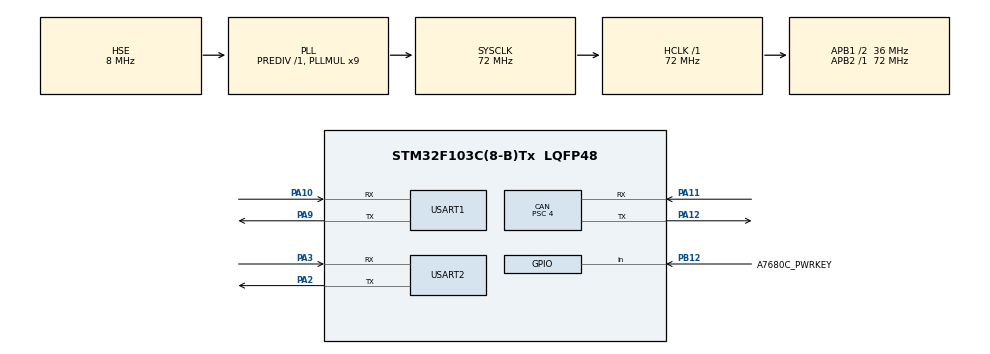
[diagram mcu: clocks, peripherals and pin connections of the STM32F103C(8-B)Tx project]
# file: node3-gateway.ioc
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CAN.BS1=CAN_BS1_15TQ
CAN.BS2=CAN_BS2_2TQ
CAN.CalculateBaudRate=500000
CAN.CalculateTimeBit=2000
CAN.CalculateTimeQuantum=111.11111111111111
CAN.Prescaler=4
FREERTOS.INCLUDE_uxTaskGetStackHighWaterMark=1
FREERTOS.INCLUDE_vTaskDelayUntil=1
FREERTOS.Tasks01=defaultTask,0,128,StartDefaultTask,Default,NULL,Dynamic,NULL,NULL
FREERTOS.configCHECK_FOR_STACK_OVERFLOW=2
FREERTOS.configTOTAL_HEAP_SIZE=6144
FREERTOS.configUSE_NEWLIB_REENTRANT=1
Mcu.Family=STM32F1
Mcu.Name=STM32F103C(8-B)Tx
Mcu.Package=LQFP48
NVIC.PriorityGroup=NVIC_PRIORITYGROUP_4
NVIC.TIM4_IRQn=true\:15\:0\:false\:false\:true\:false\:false\:true\:true
NVIC.TimeBase=TIM4_IRQn
NVIC.TimeBaseIP=TIM4
NVIC.USART2_IRQn=true\:6\:0\:true\:false\:true\:true\:true\:true\:true
NVIC.USB_LP_CAN1_RX0_IRQn=true\:5\:0\:true\:false\:true\:true\:true\:true\:true
PA10.Mode=Asynchronous
PA10.Signal=USART1_RX
PA11.Mode=CAN_Activate
PA11.Signal=CAN_RX
PA12.Mode=CAN_Activate
PA12.Signal=CAN_TX
PA13.Mode=Serial_Wire
PA13.Signal=SYS_JTMS-SWDIO
PA14.Mode=Serial_Wire
PA14.Signal=SYS_JTCK-SWCLK
PA2.Mode=Asynchronous
PA2.Signal=USART2_TX
PA3.Mode=Asynchronous
PA3.Signal=USART2_RX
PA9.Mode=Asynchronous
PA9.Signal=USART1_TX
PB12.GPIO_Label=A7680C_PWRKEY
PB12.Signal=GPIO_Input
PD0-OSC_IN.Mode=HSE-External-Oscillator
PD0-OSC_IN.Signal=RCC_OSC_IN
PD1-OSC_OUT.Mode=HSE-External-Oscillator
PD1-OSC_OUT.Signal=RCC_OSC_OUT
ProjectManager.HeapSize=0x200
ProjectManager.StackSize=0x400
ProjectManager.TargetToolchain=STM32CubeIDE
RCC.AHBFreq_Value=72000000
RCC.APB1CLKDivider=RCC_HCLK_DIV2
RCC.APB1Freq_Value=36000000
RCC.APB1TimFreq_Value=72000000
RCC.APB2Freq_Value=72000000
RCC.APB2TimFreq_Value=72000000
RCC.HCLKFreq_Value=72000000
RCC.PLLMUL=RCC_PLL_MUL9
RCC.PLLSourceVirtual=RCC_PLLSOURCE_HSE
RCC.SYSCLKFreq_VALUE=72000000
RCC.SYSCLKSource=RCC_SYSCLKSOURCE_PLLCLK
RCC.USBFreq_Value=72000000
USART1.VirtualMode=VM_ASYNC
USART2.VirtualMode=VM_ASYNC
VP_FREERTOS_VS_CMSIS_V1.Mode=CMSIS_V1
VP_SYS_VS_tim4.Mode=TIM4
board=custom

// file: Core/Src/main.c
/* USER CODE BEGIN Header */
/* USER CODE END Header */
#include "main.h"
#include "cmsis_os.h"

/* USER CODE BEGIN Includes */
#include "app_ipc.h"
#include "bsp_board.h"
#include "hal_can.h"
#include "task_comm.h"
/* USER CODE END Includes */

CAN_HandleTypeDef hcan;

UART_HandleTypeDef huart1;
UART_HandleTypeDef huart2;

osThreadId defaultTaskHandle;

void SystemClock_Config(void);
static void MX_GPIO_Init(void);
static void MX_CAN_Init(void);
static void MX_USART1_UART_Init(void);
static void MX_USART2_UART_Init(void);
void StartDefaultTask(void const * argument);

int main(void)
{

  /* MCU Configuration--------------------------------------------------------*/

  /* Reset of all peripherals, Initializes the Flash interface and the Systick. */
  HAL_Init();

  /* USER CODE BEGIN Init */
    bsp_board_set_init_step(BOARD_ERR_OSCILLATOR);
  /* USER CODE END Init */

  /* Configure the system clock */
  SystemClock_Config();

  /* Initialize all configured peripherals */
  MX_GPIO_Init();
  MX_CAN_Init();
  MX_USART1_UART_Init();
  MX_USART2_UART_Init();

  /* USER CODE BEGIN RTOS_QUEUES */
    bsp_board_init();

    if (!app_ipc_init()) {
        bsp_board_fail(BOARD_ERR_QUEUE);
    }
  /* USER CODE END RTOS_QUEUES */

  /* Create the thread(s) */
  /* definition and creation of defaultTask */
  osThreadDef(defaultTask, StartDefaultTask, osPriorityNormal, 0, 128);
  defaultTaskHandle = osThreadCreate(osThread(defaultTask), NULL);

  /* USER CODE BEGIN RTOS_THREADS */
    if (task_comm_create() != pdPASS) {
        bsp_board_fail(BOARD_ERR_TASK);
    }
  /* USER CODE END RTOS_THREADS */

  /* Start scheduler */
  osKernelStart();

  /* We should never get here as control is now taken by the scheduler */

  /* Infinite loop */
  /* USER CODE BEGIN WHILE */
    bsp_board_fail(BOARD_ERR_SCHEDULER);

    while (1) {
    /* USER CODE END WHILE */

    }
}

void SystemClock_Config(void)
{
  RCC_OscInitTypeDef RCC_OscInitStruct = {0};
  RCC_ClkInitTypeDef RCC_ClkInitStruct = {0};

  /** Initializes the RCC Oscillators according to the specified parameters
  * in the RCC_OscInitTypeDef structure.
  */
  RCC_OscInitStruct.OscillatorType = RCC_OSCILLATORTYPE_HSE;
  RCC_OscInitStruct.HSEState = RCC_HSE_ON;
  RCC_OscInitStruct.HSEPredivValue = RCC_HSE_PREDIV_DIV1;
  RCC_OscInitStruct.HSIState = RCC_HSI_ON;
  RCC_OscInitStruct.PLL.PLLState = RCC_PLL_ON;
  RCC_OscInitStruct.PLL.PLLSource = RCC_PLLSOURCE_HSE;
  RCC_OscInitStruct.PLL.PLLMUL = RCC_PLL_MUL9;
  if (HAL_RCC_OscConfig(&RCC_OscInitStruct) != HAL_OK)
  {
    Error_Handler();
  }

  /** Initializes the CPU, AHB and APB buses clocks
  */
  RCC_ClkInitStruct.ClockType = RCC_CLOCKTYPE_HCLK|RCC_CLOCKTYPE_SYSCLK
                              |RCC_CLOCKTYPE_PCLK1|RCC_CLOCKTYPE_PCLK2;
  RCC_ClkInitStruct.SYSCLKSource = RCC_SYSCLKSOURCE_PLLCLK;
  RCC_ClkInitStruct.AHBCLKDivider = RCC_SYSCLK_DIV1;
  RCC_ClkInitStruct.APB1CLKDivider = RCC_HCLK_DIV2;
  RCC_ClkInitStruct.APB2CLKDivider = RCC_HCLK_DIV1;

  if (HAL_RCC_ClockConfig(&RCC_ClkInitStruct, FLASH_LATENCY_2) != HAL_OK)
  {
    Error_Handler();
  }
}

static void MX_CAN_Init(void)
{

  /* USER CODE BEGIN CAN_Init 0 */
    bsp_board_set_init_step(BOARD_ERR_CAN_INIT);
  /* USER CODE END CAN_Init 0 */

  hcan.Instance = CAN1;
  hcan.Init.Prescaler = 4;
  hcan.Init.Mode = CAN_MODE_NORMAL;
  hcan.Init.SyncJumpWidth = CAN_SJW_1TQ;
  hcan.Init.TimeSeg1 = CAN_BS1_15TQ;
  hcan.Init.TimeSeg2 = CAN_BS2_2TQ;
  hcan.Init.TimeTriggeredMode = DISABLE;
  hcan.Init.AutoBusOff = DISABLE;
  hcan.Init.AutoWakeUp = DISABLE;
  hcan.Init.AutoRetransmission = DISABLE;
  hcan.Init.ReceiveFifoLocked = DISABLE;
  hcan.Init.TransmitFifoPriority = DISABLE;
  if (HAL_CAN_Init(&hcan) != HAL_OK)
  {
    Error_Handler();
  }

}

static void MX_USART1_UART_Init(void)
{

  /* USER CODE BEGIN USART1_Init 0 */
    bsp_board_set_init_step(BOARD_ERR_UART1_INIT);
  /* USER CODE END USART1_Init 0 */

  huart1.Instance = USART1;
  huart1.Init.BaudRate = 115200;
  huart1.Init.WordLength = UART_WORDLENGTH_8B;
  huart1.Init.StopBits = UART_STOPBITS_1;
  huart1.Init.Parity = UART_PARITY_NONE;
  huart1.Init.Mode = UART_MODE_TX_RX;
  huart1.Init.HwFlowCtl = UART_HWCONTROL_NONE;
  huart1.Init.OverSampling = UART_OVERSAMPLING_16;
  if (HAL_UART_Init(&huart1) != HAL_OK)
  {
    Error_Handler();
  }

}

static void MX_USART2_UART_Init(void)
{

  /* USER CODE BEGIN USART2_Init 0 */
    bsp_board_set_init_step(BOARD_ERR_UART2_INIT);
  /* USER CODE END USART2_Init 0 */

  huart2.Instance = USART2;
  huart2.Init.BaudRate = 115200;
  huart2.Init.WordLength = UART_WORDLENGTH_8B;
  huart2.Init.StopBits = UART_STOPBITS_1;
  huart2.Init.Parity = UART_PARITY_NONE;
  huart2.Init.Mode = UART_MODE_TX_RX;
  huart2.Init.HwFlowCtl = UART_HWCONTROL_NONE;
  huart2.Init.OverSampling = UART_OVERSAMPLING_16;
  if (HAL_UART_Init(&huart2) != HAL_OK)
  {
    Error_Handler();
  }

}

static void MX_GPIO_Init(void)
{
  GPIO_InitTypeDef GPIO_InitStruct = {0};

  /* GPIO Ports Clock Enable */
  __HAL_RCC_GPIOD_CLK_ENABLE();
  __HAL_RCC_GPIOA_CLK_ENABLE();
  __HAL_RCC_GPIOB_CLK_ENABLE();

  /*Configure GPIO pin : A7680C_PWRKEY_Pin */
  GPIO_InitStruct.Pin = A7680C_PWRKEY_Pin;
  GPIO_InitStruct.Mode = GPIO_MODE_INPUT;
  GPIO_InitStruct.Pull = GPIO_NOPULL;
  HAL_GPIO_Init(A7680C_PWRKEY_GPIO_Port, &GPIO_InitStruct);

}

void StartDefaultTask(void const * argument)
{
  /* USER CODE BEGIN 5 */
    (void)argument;
    vTaskDelete(NULL);
  /* USER CODE END 5 */
}

void HAL_TIM_PeriodElapsedCallback(TIM_HandleTypeDef *htim)
{
  if (htim->Instance == TIM4)
  {
    HAL_IncTick();
  }
}

void Error_Handler(void)
{
  /* USER CODE BEGIN Error_Handler_Debug */
    g_canError = HAL_CAN_GetError(&hcan);
    bsp_board_record_error();

    __disable_irq();
    while (1) {
    }
  /* USER CODE END Error_Handler_Debug */
}
